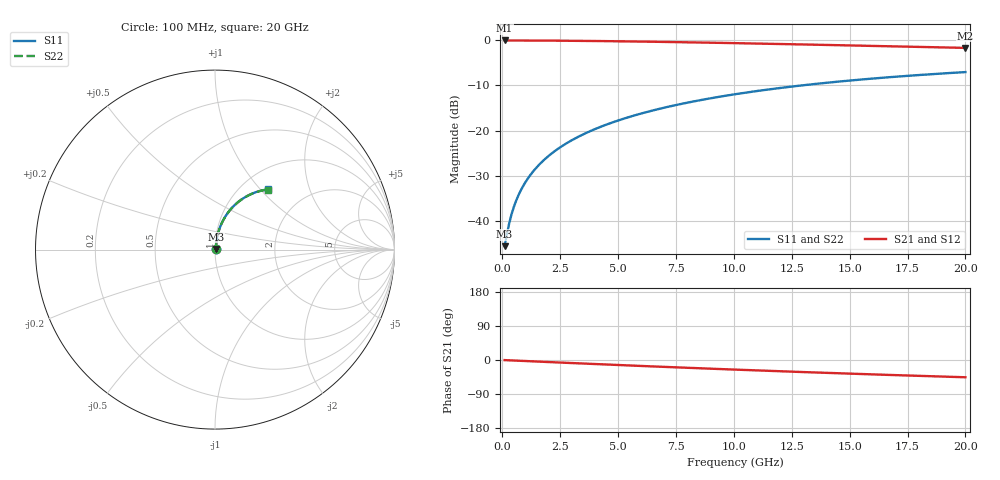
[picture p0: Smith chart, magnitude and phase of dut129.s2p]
! Touchstone file exported from HFSS 2024.1.0
!  File:  C:/UserFiles/LocalFiles/RDL_TSV_Batchsim/temp_RDL_bottom_129_1778696431.aedt
!  Generated:  02:23:50 AM May 14, 2026
!  Design:  RDL_bottom
!  Project:  temp_RDL_bottom_129_1778696431
!  Setup:  Setup1
!  Solution:  Sweep
! Variables:
!  dtsv = 10.80580581um
!  hbump = 3um
!  htsv = 64.83um
!  ldown = 665.28um
!  lrdl = 100um
!  p = 40
!  p1 = 40.15um
!  rhole = 1um
!  t = 450um
!  tdown = 3.72um
!  trdl = 3.915915916um
!  wdown = 14.39um
!  wrdl = 20um
# GHz S MA R 50.000000
! Terminal data exported
! Port[1] = RDL1_T1
! Port[2] = RDL1_T2
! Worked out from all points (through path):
!   200 points, 100 MHz to 20 GHz, reference 50 ohm
!   highest |S21| = -0.04 dB at 100 MHz (marker M1); lowest = -1.7 dB at 20 GHz (marker M2)
!   group delay of S21, straight-line fit = 6.32 ps
!   lowest |S11| = -45.5 dB at 100 MHz (marker M3), VSWR 1.01, Z = 50.5 + j0.28 ohm
!   |S11| at or under -10 dB: start of sweep to 12.91 GHz
!   |S22| runs from -45.5 to -7.0 dB; largest |S21 - S12| = 3.5e-15
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0.1  0.005281 31.7  0.9955 -0.3  0.9955 -0.3  0.005281 31.7
! Gamma 0 0 0 0
! Port Impedance 50 0 50 0
0.2  0.007192 50.0  0.9954 -0.6  0.9954 -0.6  0.007192 50.0
0.3  0.009491 59.7  0.9952 -0.8  0.9952 -0.8  0.009491 59.7
0.4  0.01192 65.3  0.995 -1.1  0.995 -1.1  0.01192 65.3
0.5  0.01438 68.9  0.9949 -1.4  0.9949 -1.4  0.01438 68.9
0.6  0.01687 71.5  0.9947 -1.6  0.9947 -1.6  0.01687 71.5
0.8  0.02189 74.8  0.9943 -2.2  0.9943 -2.2  0.0219 74.8
1.1  0.0295 77.5  0.9937 -3.0  0.9937 -3.0  0.0295 77.5
1.3  0.03461 78.5  0.9933 -3.5  0.9933 -3.5  0.03461 78.5
1.6  0.0423 79.5  0.9925 -4.3  0.9925 -4.3  0.0423 79.5
2.1  0.05517 80.1  0.9909 -5.7  0.9909 -5.7  0.05516 80.1
2.7  0.07064 80.0  0.9886 -7.3  0.9886 -7.3  0.07063 80.0
3.5  0.09124 79.4  0.9846 -9.4  0.9846 -9.4  0.09124 79.3
4.2  0.1092 78.4  0.9805 -11.2  0.9805 -11.2  0.1092 78.4
5  0.1296 77.2  0.9751 -13.2  0.9751 -13.2  0.1296 77.2
5.9  0.1524 75.7  0.9683 -15.5  0.9683 -15.5  0.1524 75.6
6.8  0.1749 74.0  0.9608 -17.7  0.9608 -17.7  0.1749 74.0
8.3  0.2117 71.2  0.9472 -21.3  0.9472 -21.3  0.2116 71.1
10.1  0.2542 67.6  0.9295 -25.5  0.9295 -25.5  0.2541 67.6
13.4  0.3265 61.1  0.8947 -32.7  0.8947 -32.7  0.3264 61.1
16.7  0.3902 54.8  0.8589 -39.4  0.8589 -39.4  0.39 54.8
20  0.4448 48.9  0.8238 -45.6  0.8238 -45.6  0.4445 48.8
